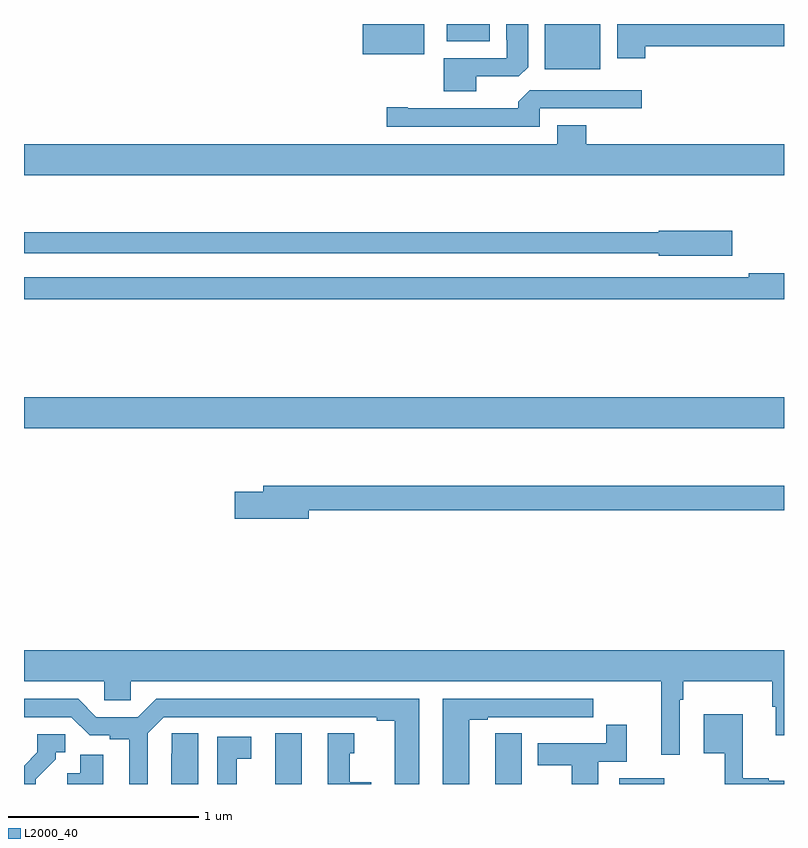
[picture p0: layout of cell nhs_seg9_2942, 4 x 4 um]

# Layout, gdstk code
import gdstk
lib = gdstk.Library(unit=1e-6, precision=1e-09)
def R(c, l, rs):  # rectangles x0, y0, x1, y1
    for r in rs: c.add(gdstk.rectangle(r[:2], r[2:], *l))
def P(c, l, *ps):  # polygons
    for p in ps: c.add(gdstk.Polygon(p, *l))
L2000_40 = (2000, 40)

nhs_seg9_2942 = lib.new_cell('nhs_seg9_2942')
R(nhs_seg9_2942, L2000_40, [(280.322,1242.5,280.462,1242.766), (282.134,1242.5,282.37,1242.529), (279,1244.372,283,1244.536), (281.741,1246.262,282.034,1246.5), (280.784,1246.34,281.107,1246.5), (281.225,1246.409,281.452,1246.5)])
P(nhs_seg9_2942, L2000_40, [(282.269,1246.384),(283,1246.384),(283,1246.5),(282.122,1246.5),(282.122,1246.32),(282.269,1246.32)],
  [(281.38,1246.224),(281.604,1246.224),(281.653,1246.273),(281.653,1246.5),(281.537,1246.5),(281.537,1246.417),(281.541,1246.417),(281.541,1246.32),(281.21,1246.32),(281.21,1246.145),(281.38,1246.145)],
  [(281.715,1246.056),(282.25,1246.056),(282.25,1246.152),(281.661,1246.152),(281.6,1246.09),(281.6,1246.056),(281.02,1246.056),(281.02,1246.061),(280.908,1246.061),(280.908,1245.96),(281.715,1245.96)],
  [(283,1245.868),(281.96,1245.868),(281.96,1245.967),(281.807,1245.967),(281.807,1245.868),(279,1245.868),(279,1245.704),(283,1245.704)],
  [(282.727,1245.411),(282.342,1245.411),(282.342,1245.403),(279,1245.403),(279,1245.294),(282.342,1245.294),(282.342,1245.281),(282.727,1245.281)],
  [(283,1245.188),(282.814,1245.188),(282.814,1245.168),(279,1245.168),(279,1245.052),(283,1245.052)],
  [(280.498,1243.942),(283,1243.942),(283,1244.071),(280.259,1244.071),(280.259,1244.037),(280.11,1244.037),(280.11,1243.895),(280.498,1243.895)],
  [(282.45,1242.944),(282.47,1242.944),(282.47,1243.04),(282.937,1243.04),(282.937,1242.906),(282.956,1242.906),(282.956,1242.756),(283,1242.756),(283,1243.204),(279,1243.204),(279,1243.04),(279.423,1243.04),(279.423,1242.942),(279.561,1242.942),(279.561,1243.04),(282.353,1243.04),(282.353,1242.654),(282.45,1242.654)],
  [(279.651,1242.768),(279.735,1242.852),(280.856,1242.852),(280.856,1242.832),(280.952,1242.832),(280.952,1242.5),(281.08,1242.5),(281.08,1242.948),(279.695,1242.948),(279.599,1242.852),(279.381,1242.852),(279.285,1242.948),(279,1242.948),(279,1242.852),(279.249,1242.852),(279.345,1242.756),(279.45,1242.756),(279.45,1242.736),(279.554,1242.736),(279.554,1242.5),(279.651,1242.5)],
  [(281.344,1242.837),(281.44,1242.837),(281.44,1242.852),(281.716,1242.852),(281.716,1242.851),(281.882,1242.851),(281.882,1242.852),(281.995,1242.852),(281.995,1242.948),(281.204,1242.948),(281.204,1242.5),(281.344,1242.5)],
  [(283,1242.517),(282.921,1242.517),(282.921,1242.53),(282.784,1242.53),(282.784,1242.868),(282.578,1242.868),(282.578,1242.662),(282.687,1242.662),(282.687,1242.5),(283,1242.5)],
  [(282.022,1242.618),(282.173,1242.618),(282.173,1242.811),(282.064,1242.811),(282.064,1242.714),(281.705,1242.714),(281.705,1242.598),(281.882,1242.598),(281.882,1242.5),(282.022,1242.5)],
  [(279.916,1242.767),(279.777,1242.767),(279.777,1242.659),(279.776,1242.659),(279.776,1242.5),(279.916,1242.5)],
  [(281.62,1242.767),(281.481,1242.767),(281.481,1242.659),(281.48,1242.659),(281.48,1242.5),(281.62,1242.5)],
  [(280.828,1242.508),(280.714,1242.508),(280.714,1242.663),(280.738,1242.663),(280.738,1242.766),(280.598,1242.766),(280.598,1242.5),(280.828,1242.5)],
  [(279.061,1242.526),(279.166,1242.631),(279.166,1242.666),(279.216,1242.666),(279.216,1242.762),(279.069,1242.762),(279.069,1242.666),(279,1242.597),(279,1242.5),(279.061,1242.5)],
  [(280.12,1242.634),(280.195,1242.634),(280.195,1242.75),(280.016,1242.75),(280.016,1242.5),(280.12,1242.5)],
  [(279.418,1242.654),(279.296,1242.654),(279.296,1242.556),(279.227,1242.556),(279.227,1242.5),(279.418,1242.5)])

lib.write_gds('nhs_seg9_2942.gds')
